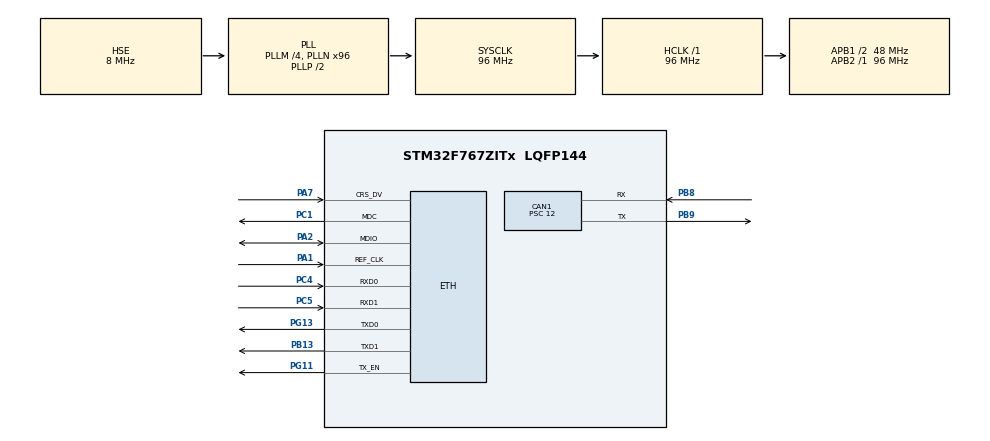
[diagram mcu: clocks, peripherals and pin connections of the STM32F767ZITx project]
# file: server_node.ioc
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CAN1.BS1=CAN_BS1_13TQ
CAN1.BS2=CAN_BS2_2TQ
CAN1.CalculateBaudRate=250000
CAN1.CalculateTimeBit=4000
CAN1.CalculateTimeQuantum=250.0
CAN1.Prescaler=12
CORTEX_M7.AccessPermission-Cortex_Memory_Protection_Unit_Region0_Settings=MPU_REGION_FULL_ACCESS
CORTEX_M7.BaseAddress-Cortex_Memory_Protection_Unit_Region0_Settings=0x2004C000
CORTEX_M7.CPU_DCache=Disabled
CORTEX_M7.CPU_ICache=Disabled
CORTEX_M7.Enable-Cortex_Memory_Protection_Unit_Region0_Settings=MPU_REGION_ENABLE
CORTEX_M7.MPU_Control=MPU_HFNMI_PRIVDEF
CORTEX_M7.Size-Cortex_Memory_Protection_Unit_Region0_Settings=MPU_REGION_SIZE_32KB
CORTEX_M7.TypeExtField-Cortex_Memory_Protection_Unit_Region0_Settings=MPU_TEX_LEVEL1
ETH.MediaInterface=HAL_ETH_RMII_MODE
FREERTOS.Mutexes01=dashDataMutex,Dynamic,NULL,Available
FREERTOS.Tasks01=defaultTask,24,1024,StartDefaultTask,Default,NULL,Dynamic,NULL,NULL;canRxTask,32,256,StartCanRxTask,Default,NULL,Dynamic,NULL,NULL;httpsServerTask,24,512,StartHttpsServerTask,Default,NULL,Dynamic,NULL,NULL;statusLedTask,16,128,StartStatusLedTask,Default,NULL,Dynamic,NULL,NULL
FREERTOS.configTOTAL_HEAP_SIZE=32768
LWIP.GATEWAY_ADDRESS=192.168.001.001
LWIP.IP_ADDRESS=192.168.001.050
LWIP.LWIP_DHCP=0
LWIP.MEMP_NUM_NETCONN=10
LWIP.MEMP_NUM_TCP_PCB_LISTEN=10
LWIP.MEM_SIZE=16384
LWIP.NETMASK_ADDRESS=255.255.255.000
LWIP.Version=v2.1.2_Cube
Mcu.Family=STM32F7
Mcu.Name=STM32F767ZITx
Mcu.Package=LQFP144
NVIC.ETH_IRQn=true\:5\:0\:false\:false\:true\:true\:true\:true\:true
NVIC.PriorityGroup=NVIC_PRIORITYGROUP_4
NVIC.TIM6_DAC_IRQn=true\:15\:0\:false\:false\:true\:false\:false\:true\:true
NVIC.TimeBase=TIM6_DAC_IRQn
NVIC.TimeBaseIP=TIM6
PA1.Mode=RMII
PA1.Signal=ETH_REF_CLK
PA2.Mode=RMII
PA2.Signal=ETH_MDIO
PA7.Mode=RMII
PA7.Signal=ETH_CRS_DV
PB13.Mode=RMII
PB13.Signal=ETH_TXD1
PB8.Mode=CAN_Activate
PB8.Signal=CAN1_RX
PB9.Mode=CAN_Activate
PB9.Signal=CAN1_TX
PC1.Mode=RMII
PC1.Signal=ETH_MDC
PC4.Mode=RMII
PC4.Signal=ETH_RXD0
PC5.Mode=RMII
PC5.Signal=ETH_RXD1
PG11.Mode=RMII
PG11.Signal=ETH_TX_EN
PG13.Mode=RMII
PG13.Signal=ETH_TXD0
PH0/OSC_IN.Mode=HSE-External-Clock-Source
PH0/OSC_IN.Signal=RCC_OSC_IN
PH1/OSC_OUT.Mode=HSE-External-Clock-Source
PH1/OSC_OUT.Signal=RCC_OSC_OUT
ProjectManager.HeapSize=0x200
ProjectManager.StackSize=0x400
ProjectManager.TargetToolchain=STM32CubeIDE
RCC.48MHZClocksFreq_Value=24000000
RCC.AHBFreq_Value=96000000
RCC.APB1CLKDivider=RCC_HCLK_DIV2
RCC.APB1Freq_Value=48000000
RCC.APB1TimFreq_Value=96000000
RCC.APB2Freq_Value=96000000
RCC.APB2TimFreq_Value=96000000
RCC.CortexFreq_Value=96000000
RCC.HCLKFreq_Value=96000000
RCC.HSE_VALUE=8000000
RCC.HSI_VALUE=16000000
RCC.LSE_VALUE=32768
RCC.PLLM=4
RCC.PLLMUL=RCC_PLL_MUL9
RCC.PLLN=96
RCC.PLLQ=4
RCC.PLLSourceVirtual=RCC_PLLSOURCE_HSE
RCC.PRESCALERUSB=RCC_USBCLKSOURCE_PLL_DIV1_5
RCC.SYSCLKFreq_VALUE=96000000
RCC.SYSCLKSource=RCC_SYSCLKSOURCE_PLLCLK
RCC.SYSCLKSourceVirtual=RCC_SYSCLKSOURCE_PLLCLK
RCC.USBFreq_Value=48000000
RCC.VCOOutputFreq_Value=192000000
VP_FREERTOS_VS_CMSIS_V2.Mode=CMSIS_V2
VP_LWIP_VS_Enabled.Mode=Enabled
VP_SYS_VS_tim6.Mode=TIM6
board=NUCLEO-F767ZI

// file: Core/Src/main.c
/* USER CODE BEGIN Header */
/**
  ******************************************************************************
  * @file           : main.c
  * @brief          : Main program body
  ******************************************************************************
  * @attention
  *
  * Copyright (c) 2026 STMicroelectronics.
  * All rights reserved.
  *
  * This software is licensed under terms that can be found in the LICENSE file
  * in the root directory of this software component.
  * If no LICENSE file comes with this software, it is provided AS-IS.
  *
  ******************************************************************************
  */
/* USER CODE END Header */
#include "main.h"
#include "cmsis_os.h"
#include "can.h"
#include "lwip.h"
#include "gpio.h"

void SystemClock_Config(void);
static void MPU_Config(void);
void MX_FREERTOS_Init(void);

int main(void)
{

  /* MPU Configuration--------------------------------------------------------*/
  MPU_Config();

  /* MCU Configuration--------------------------------------------------------*/

  /* Reset of all peripherals, Initializes the Flash interface and the Systick. */
  HAL_Init();

  /* Configure the system clock */
  SystemClock_Config();

  /* Initialize all configured peripherals */
  MX_GPIO_Init();
  MX_CAN1_Init();
  /* USER CODE BEGIN 2 */

  CAN_FilterTypeDef canfilterconfig;

  canfilterconfig.FilterActivation = CAN_FILTER_ENABLE;
  canfilterconfig.FilterBank = 10;
  canfilterconfig.FilterFIFOAssignment = CAN_RX_FIFO0;
  canfilterconfig.FilterIdHigh = 0;
  canfilterconfig.FilterIdLow = 0;
  canfilterconfig.FilterMaskIdHigh = 0;
  canfilterconfig.FilterMaskIdLow = 0;
  canfilterconfig.FilterMode = CAN_FILTERMODE_IDMASK;
  canfilterconfig.FilterScale = CAN_FILTERSCALE_32BIT;
  canfilterconfig.SlaveStartFilterBank = 14;

  HAL_CAN_ConfigFilter(&hcan1, &canfilterconfig);
  HAL_CAN_Start(&hcan1);

  /* USER CODE END 2 */

  /* Init scheduler */
  osKernelInitialize();

  /* Call init function for freertos objects (in cmsis_os2.c) */
  MX_FREERTOS_Init();

  /* Start scheduler */
  osKernelStart();

  /* We should never get here as control is now taken by the scheduler */

  /* Infinite loop */
  while (1)
  {

  }
}

void SystemClock_Config(void)
{
  RCC_OscInitTypeDef RCC_OscInitStruct = {0};
  RCC_ClkInitTypeDef RCC_ClkInitStruct = {0};

  /** Configure the main internal regulator output voltage
  */
  __HAL_RCC_PWR_CLK_ENABLE();
  __HAL_PWR_VOLTAGESCALING_CONFIG(PWR_REGULATOR_VOLTAGE_SCALE3);

  /** Initializes the RCC Oscillators according to the specified parameters
  * in the RCC_OscInitTypeDef structure.
  */
  RCC_OscInitStruct.OscillatorType = RCC_OSCILLATORTYPE_HSE;
  RCC_OscInitStruct.HSEState = RCC_HSE_BYPASS;
  RCC_OscInitStruct.PLL.PLLState = RCC_PLL_ON;
  RCC_OscInitStruct.PLL.PLLSource = RCC_PLLSOURCE_HSE;
  RCC_OscInitStruct.PLL.PLLM = 4;
  RCC_OscInitStruct.PLL.PLLN = 96;
  RCC_OscInitStruct.PLL.PLLP = RCC_PLLP_DIV2;
  RCC_OscInitStruct.PLL.PLLQ = 4;
  RCC_OscInitStruct.PLL.PLLR = 2;
  if (HAL_RCC_OscConfig(&RCC_OscInitStruct) != HAL_OK)
  {
    Error_Handler();
  }

  /** Activate the Over-Drive mode
  */
  if (HAL_PWREx_EnableOverDrive() != HAL_OK)
  {
    Error_Handler();
  }

  /** Initializes the CPU, AHB and APB buses clocks
  */
  RCC_ClkInitStruct.ClockType = RCC_CLOCKTYPE_HCLK|RCC_CLOCKTYPE_SYSCLK
                              |RCC_CLOCKTYPE_PCLK1|RCC_CLOCKTYPE_PCLK2;
  RCC_ClkInitStruct.SYSCLKSource = RCC_SYSCLKSOURCE_PLLCLK;
  RCC_ClkInitStruct.AHBCLKDivider = RCC_SYSCLK_DIV1;
  RCC_ClkInitStruct.APB1CLKDivider = RCC_HCLK_DIV2;
  RCC_ClkInitStruct.APB2CLKDivider = RCC_HCLK_DIV1;

  if (HAL_RCC_ClockConfig(&RCC_ClkInitStruct, FLASH_LATENCY_3) != HAL_OK)
  {
    Error_Handler();
  }
}

 /* MPU Configuration */

void MPU_Config(void)
{
  MPU_Region_InitTypeDef MPU_InitStruct = {0};

  /* Disables the MPU */
  HAL_MPU_Disable();

  /** Initializes and configures the Region and the memory to be protected
  */
  MPU_InitStruct.Enable = MPU_REGION_ENABLE;
  MPU_InitStruct.Number = MPU_REGION_NUMBER0;
  MPU_InitStruct.BaseAddress = 0x2004C000;
  MPU_InitStruct.Size = MPU_REGION_SIZE_32KB;
  MPU_InitStruct.SubRegionDisable = 0x0;
  MPU_InitStruct.TypeExtField = MPU_TEX_LEVEL1;
  MPU_InitStruct.AccessPermission = MPU_REGION_FULL_ACCESS;
  MPU_InitStruct.DisableExec = MPU_INSTRUCTION_ACCESS_ENABLE;
  MPU_InitStruct.IsShareable = MPU_ACCESS_NOT_SHAREABLE;
  MPU_InitStruct.IsCacheable = MPU_ACCESS_NOT_CACHEABLE;
  MPU_InitStruct.IsBufferable = MPU_ACCESS_NOT_BUFFERABLE;

  HAL_MPU_ConfigRegion(&MPU_InitStruct);
  /* Enables the MPU */
  HAL_MPU_Enable(MPU_HFNMI_PRIVDEF);

}

void HAL_TIM_PeriodElapsedCallback(TIM_HandleTypeDef *htim)
{
  if (htim->Instance == TIM6) {
    HAL_IncTick();
  }
}

void Error_Handler(void)
{
  __disable_irq();
  while (1)
  {
  }
}

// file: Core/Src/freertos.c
/* USER CODE BEGIN Header */
/**
  ******************************************************************************
  * File Name          : freertos.c
  * Description        : Code for freertos applications
  ******************************************************************************
  * @attention
  *
  * Copyright (c) 2026 STMicroelectronics.
  * All rights reserved.
  *
  * This software is licensed under terms that can be found in the LICENSE file
  * in the root directory of this software component.
  * If no LICENSE file comes with this software, it is provided AS-IS.
  *
  ******************************************************************************
  */
/* USER CODE END Header */

#include "FreeRTOS.h"
#include "task.h"
#include "main.h"
#include "cmsis_os.h"

/* USER CODE BEGIN Includes */
#include "https_server.h"
#include "can.h"
#include <string.h>
/* USER CODE END Includes */

/* USER CODE BEGIN Variables */
/* Shared sensor data -- written by canRxTask , read by httpServerTask */
volatile float dash_temp = 0.0f;
volatile float dash_press = 0.0f;
volatile float dash_hum = 0.0f;
volatile uint8_t dash_door_open = 0;
volatile uint8_t dash_pir_motion = 0;
volatile uint8_t dash_armed = 0;
volatile uint8_t dash_alarm = 0;
volatile float dash_target_temp = 22.0f;

CAN_RxHeaderTypeDef   RxHeader;
uint8_t               RxData[8];
uint32_t              RxMailbox;
/* USER CODE END Variables */
/* Definitions for defaultTask */
osThreadId_t defaultTaskHandle;
const osThreadAttr_t defaultTask_attributes = {
  .name = "defaultTask",
  .stack_size = 1024 * 4,
  .priority = (osPriority_t) osPriorityNormal,
};
/* Definitions for canRxTask */
osThreadId_t canRxTaskHandle;
const osThreadAttr_t canRxTask_attributes = {
  .name = "canRxTask",
  .stack_size = 256 * 4,
  .priority = (osPriority_t) osPriorityAboveNormal,
};
/* Definitions for httpsServerTask */
osThreadId_t httpsServerTaskHandle;
const osThreadAttr_t httpsServerTask_attributes = {
  .name = "httpsServerTask",
  .stack_size = 512 * 4,
  .priority = (osPriority_t) osPriorityNormal,
};
/* Definitions for statusLedTask */
osThreadId_t statusLedTaskHandle;
const osThreadAttr_t statusLedTask_attributes = {
  .name = "statusLedTask",
  .stack_size = 128 * 4,
  .priority = (osPriority_t) osPriorityBelowNormal,
};
/* Definitions for dashDataMutex */
osMutexId_t dashDataMutexHandle;
const osMutexAttr_t dashDataMutex_attributes = {
  .name = "dashDataMutex"
};

void StartDefaultTask(void *argument);
void StartCanRxTask(void *argument);
void StartHttpsServerTask(void *argument);
void StartStatusLedTask(void *argument);

extern void MX_LWIP_Init(void);
void MX_FREERTOS_Init(void); /* (MISRA C 2004 rule 8.1) */

void MX_FREERTOS_Init(void) {
  /* Create the mutex(es) */
  /* creation of dashDataMutex */
  dashDataMutexHandle = osMutexNew(&dashDataMutex_attributes);

  /* Create the thread(s) */
  /* creation of defaultTask */
  defaultTaskHandle = osThreadNew(StartDefaultTask, NULL, &defaultTask_attributes);

  /* creation of canRxTask */
  canRxTaskHandle = osThreadNew(StartCanRxTask, NULL, &canRxTask_attributes);

  /* creation of httpsServerTask */
  httpsServerTaskHandle = osThreadNew(StartHttpsServerTask, NULL, &httpsServerTask_attributes);

  /* creation of statusLedTask */
  statusLedTaskHandle = osThreadNew(StartStatusLedTask, NULL, &statusLedTask_attributes);

}

void StartDefaultTask(void *argument)
{
  /* init code for LWIP */
  MX_LWIP_Init();
  for(;;)
  {
    osDelay(1);
  }
}

void StartCanRxTask(void *argument)
{
  /* USER CODE BEGIN StartCanRxTask */
	for (;;)
	  {
	    /* 1. Drain the CAN FIFO:
	       We use a 'while' loop instead of an 'if' statement to ensure we process
	       ALL waiting messages before going back to sleep. */
	    while (HAL_CAN_GetRxFifoFillLevel(&hcan1, CAN_RX_FIFO0) > 0)
	    {
	      // Retrieve the next message from the hardware buffer into RxData
	      HAL_CAN_GetRxMessage(&hcan1, CAN_RX_FIFO0, &RxHeader, RxData);

	      /* 2. Lock the Mutex:
	         We lock the shared variables so the httpServerTask cannot read
	         them while we are in the middle of updating them.  */
	      osMutexAcquire(dashDataMutexHandle, osWaitForever);

	      /* 3. Decode based on the Message ID */
	      if (RxHeader.StdId == 0x103)
	      {
	        // Message 0x103 (From Sender): Door, Motion, and Temperature [cite: 173]
	        dash_door_open = (RxData[0] == 'D') ? 1 : 0;
	        dash_pir_motion = (RxData[1] != 0) ? 1 : 0;

	        // We use memcpy because a float is 4 bytes long, and CAN data is 1 byte per slot
	        memcpy((void *)&dash_temp, &RxData[2], 4);
	      }
	      else if (RxHeader.StdId == 0x104)
	      {
	        // Message 0x104 (From Sender): Pressure and Humidity
	        memcpy((void *)&dash_press, &RxData[0], 4);
	        memcpy((void *)&dash_hum, &RxData[4], 4);
	      }
	      else if (RxHeader.StdId == 0x105)
	      {
	        // Message 0x105 (From Actuator): Armed status, Alarm status, Target Temp
	        dash_armed = RxData[0];
	        dash_alarm = RxData[1];
	        memcpy((void *)&dash_target_temp, &RxData[2], 4);
	      }

	      /* 4. Unlock the Mutex:
	         Release the lock immediately so the web server can safely read the fresh data.  */
	      osMutexRelease(dashDataMutexHandle);
	    }

	    /* 5. Yield to Scheduler:
	       Sleep for 10ms. This uses zero CPU power and allows the web server
	       to handle incoming browser connections.  */
	    osDelay(10);
	  }
  /* USER CODE END StartCanRxTask */
}

void StartHttpsServerTask(void *argument)
{
  /* USER CODE BEGIN StartHttpsServerTask */
	http_server_init(); // This starts the infinite Netconn loop!
  /* USER CODE END StartHttpsServerTask */
}

void StartStatusLedTask(void *argument)
{
  for(;;)
  {
    osDelay(1);
  }
}

/* USER CODE BEGIN Application */

// Bring in the CAN1 handle from main.c so we can transmit
extern CAN_HandleTypeDef hcan1;

/* ------------------------------------------------------------------------ */
/* SEND ARM COMMAND: Transmits 0x200 with 0x01 (Arm) or 0x02 (Disarm)       */
/* ------------------------------------------------------------------------ */
void send_arm_command(uint8_t cmd) {
    CAN_TxHeaderTypeDef TxHeader;
    uint8_t TxData[1];
    uint32_t TxMailbox;

    TxHeader.StdId = 0x200;
    TxHeader.IDE = CAN_ID_STD;
    TxHeader.RTR = CAN_RTR_DATA;
    TxHeader.DLC = 1;
    TxHeader.TransmitGlobalTime = DISABLE;

    TxData[0] = cmd; /* 0x01 = ARM, 0x02 = DISARM */

    // Check if the CAN hardware has room to send a message
    if (HAL_CAN_GetTxMailboxesFreeLevel(&hcan1) > 0) {
        HAL_CAN_AddTxMessage(&hcan1, &TxHeader, TxData, &TxMailbox);
    }
}

/* ------------------------------------------------------------------------ */
/* SEND TARGET TEMP: Transmits 0x201 with the new float temperature         */
/* ------------------------------------------------------------------------ */
void send_target_temp(float temp) {
    CAN_TxHeaderTypeDef TxHeader;
    uint8_t TxData[4];
    uint32_t TxMailbox;

    TxHeader.StdId = 0x201;
    TxHeader.IDE = CAN_ID_STD;
    TxHeader.RTR = CAN_RTR_DATA;
    TxHeader.DLC = 4;
    TxHeader.TransmitGlobalTime = DISABLE;

    // Safely copy the 4 bytes of the float into the 4 bytes of the CAN payload
    memcpy(&TxData[0], &temp, 4);

    // Check if the CAN hardware has room to send a message
    if (HAL_CAN_GetTxMailboxesFreeLevel(&hcan1) > 0) {
        HAL_CAN_AddTxMessage(&hcan1, &TxHeader, TxData, &TxMailbox);
    }
}

/* USER CODE END Application */
